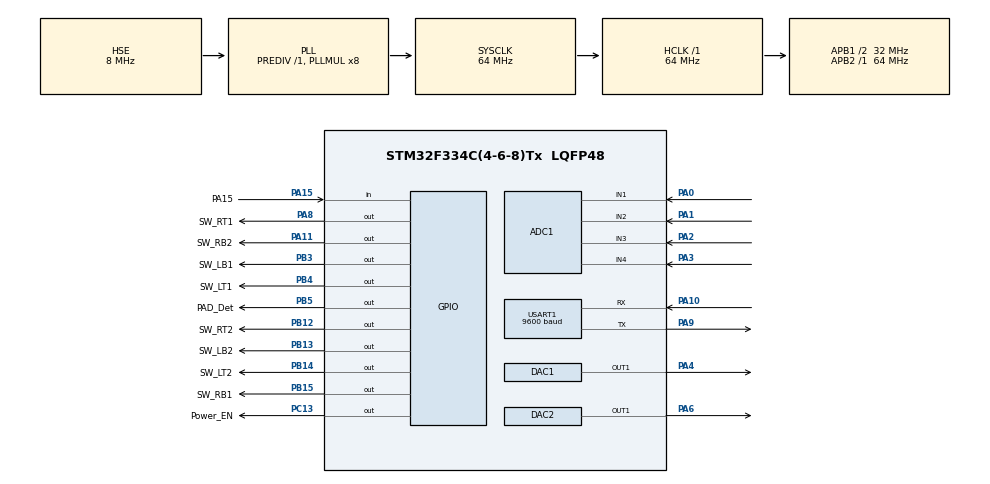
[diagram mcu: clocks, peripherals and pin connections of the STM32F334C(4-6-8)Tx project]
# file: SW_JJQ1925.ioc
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ADC1.Channel-0\#ChannelRegularConversion=ADC_CHANNEL_1
ADC1.Channel-1\#ChannelRegularConversion=ADC_CHANNEL_2
ADC1.Channel-2\#ChannelRegularConversion=ADC_CHANNEL_3
ADC1.Channel-3\#ChannelRegularConversion=ADC_CHANNEL_4
ADC1.Channel-4\#ChannelRegularConversion=ADC_CHANNEL_VREFINT
ADC1.ClockPrescaler=ADC_CLOCK_SYNC_PCLK_DIV1
ADC1.DMAContinuousRequests=ENABLE
ADC1.EnableInjectedConversion=DISABLE
ADC1.ExternalTrigConv=ADC_EXTERNALTRIGCONV_T3_TRGO
ADC1.NbrOfConversion=5
ADC1.NbrOfConversionFlag=1
ADC1.Offset-0\#ChannelRegularConversion=0
ADC1.Offset-1\#ChannelRegularConversion=0
ADC1.Offset-2\#ChannelRegularConversion=0
ADC1.Offset-3\#ChannelRegularConversion=0
ADC1.Offset-4\#ChannelRegularConversion=0
ADC1.OffsetNumber-0\#ChannelRegularConversion=ADC_OFFSET_NONE
ADC1.OffsetNumber-1\#ChannelRegularConversion=ADC_OFFSET_NONE
ADC1.OffsetNumber-2\#ChannelRegularConversion=ADC_OFFSET_NONE
ADC1.OffsetNumber-3\#ChannelRegularConversion=ADC_OFFSET_NONE
ADC1.OffsetNumber-4\#ChannelRegularConversion=ADC_OFFSET_NONE
ADC1.Rank-0\#ChannelRegularConversion=1
ADC1.Rank-1\#ChannelRegularConversion=2
ADC1.Rank-2\#ChannelRegularConversion=3
ADC1.Rank-3\#ChannelRegularConversion=4
ADC1.Rank-4\#ChannelRegularConversion=5
ADC1.SamplingTime-0\#ChannelRegularConversion=ADC_SAMPLETIME_19CYCLES_5
ADC1.SamplingTime-1\#ChannelRegularConversion=ADC_SAMPLETIME_19CYCLES_5
ADC1.SamplingTime-2\#ChannelRegularConversion=ADC_SAMPLETIME_19CYCLES_5
ADC1.SamplingTime-3\#ChannelRegularConversion=ADC_SAMPLETIME_19CYCLES_5
ADC1.SamplingTime-4\#ChannelRegularConversion=ADC_SAMPLETIME_19CYCLES_5
ADC1.master=1
DAC1.DAC_OutputBuffer=DAC_OUTPUTBUFFER_DISABLE
Dma.ADC1.0.Direction=DMA_PERIPH_TO_MEMORY
Dma.ADC1.0.Instance=DMA1_Channel1
Dma.ADC1.0.MemDataAlignment=DMA_MDATAALIGN_WORD
Dma.ADC1.0.MemInc=DMA_MINC_ENABLE
Dma.ADC1.0.Mode=DMA_CIRCULAR
Dma.ADC1.0.PeriphDataAlignment=DMA_PDATAALIGN_WORD
Dma.ADC1.0.PeriphInc=DMA_PINC_DISABLE
Dma.ADC1.0.Priority=DMA_PRIORITY_HIGH
Dma.Request0=ADC1
Dma.Request1=USART1_RX
Dma.Request2=USART1_TX
Dma.USART1_RX.1.Direction=DMA_PERIPH_TO_MEMORY
Dma.USART1_RX.1.Instance=DMA1_Channel5
Dma.USART1_RX.1.MemDataAlignment=DMA_MDATAALIGN_BYTE
Dma.USART1_RX.1.MemInc=DMA_MINC_ENABLE
Dma.USART1_RX.1.Mode=DMA_CIRCULAR
Dma.USART1_RX.1.PeriphDataAlignment=DMA_PDATAALIGN_BYTE
Dma.USART1_RX.1.PeriphInc=DMA_PINC_DISABLE
Dma.USART1_RX.1.Priority=DMA_PRIORITY_LOW
Dma.USART1_TX.2.Direction=DMA_MEMORY_TO_PERIPH
Dma.USART1_TX.2.Instance=DMA1_Channel4
Dma.USART1_TX.2.MemDataAlignment=DMA_MDATAALIGN_BYTE
Dma.USART1_TX.2.MemInc=DMA_MINC_ENABLE
Dma.USART1_TX.2.Mode=DMA_NORMAL
Dma.USART1_TX.2.PeriphDataAlignment=DMA_PDATAALIGN_BYTE
Dma.USART1_TX.2.PeriphInc=DMA_PINC_DISABLE
Dma.USART1_TX.2.Priority=DMA_PRIORITY_LOW
FREERTOS.INCLUDE_uxTaskPriorityGet=0
FREERTOS.INCLUDE_vTaskDelete=0
FREERTOS.INCLUDE_vTaskSuspend=0
FREERTOS.Tasks01=defaultTask,0,128,StartDefaultTask,Default,NULL,Dynamic,NULL,NULL;myTask02,-3,128,StartTask_Uart,Default,NULL,Dynamic,NULL,NULL;myTask03,-3,128,DAC_Task,Default,NULL,Dynamic,NULL,NULL;myTask04,-3,128,StartTask_SelfTest,Default,NULL,Dynamic,NULL,NULL
FREERTOS.Timers01=myTimer03,Check_Modbus,osTimerOnce,Default,NULL,Dynamic,NULL
FREERTOS.configTOTAL_HEAP_SIZE=4700
FREERTOS.configUSE_MUTEXES=0
FREERTOS.configUSE_TIMERS=1
Mcu.Family=STM32F3
Mcu.Name=STM32F334C(4-6-8)Tx
Mcu.Package=LQFP48
NVIC.DMA1_Channel1_IRQn=true\:5\:0\:false\:false\:true\:true\:false\:true
NVIC.DMA1_Channel4_IRQn=true\:5\:0\:false\:false\:true\:true\:false\:true
NVIC.DMA1_Channel5_IRQn=true\:5\:0\:false\:false\:true\:true\:false\:true
NVIC.PriorityGroup=NVIC_PRIORITYGROUP_4
NVIC.TIM1_UP_TIM16_IRQn=true\:0\:0\:false\:false\:true\:false\:false\:true
NVIC.TimeBase=TIM1_UP_TIM16_IRQn
NVIC.TimeBaseIP=TIM1
PA0.GPIO_Mode=GPIO_MODE_ANALOG
PA0.GPIO_PuPd=GPIO_NOPULL
PA0.Mode=IN1-Single-Ended
PA0.Signal=ADC1_IN1
PA1.GPIO_Mode=GPIO_MODE_ANALOG
PA1.GPIO_PuPd=GPIO_NOPULL
PA1.Mode=IN2-Single-Ended
PA1.Signal=ADC1_IN2
PA10.GPIO_ModeDefaultPP=GPIO_MODE_AF_PP
PA10.GPIO_PuPd=GPIO_NOPULL
PA10.GPIO_Speed=GPIO_SPEED_FREQ_LOW
PA10.Mode=Asynchronous
PA10.Signal=USART1_RX
PA11.GPIO_Label=SW_RB2
PA11.GPIO_ModeDefaultOutputPP=GPIO_MODE_OUTPUT_PP
PA11.GPIO_PuPd=GPIO_NOPULL
PA11.GPIO_Speed=GPIO_SPEED_FREQ_LOW
PA11.PinState=GPIO_PIN_RESET
PA11.Signal=GPIO_Output
PA13.Mode=Serial_Wire
PA13.Signal=SYS_JTMS-SWDIO
PA14.Mode=Serial_Wire
PA14.Signal=SYS_JTCK-SWCLK
PA15.GPIO_Label=PA15
PA15.GPIO_Mode=GPIO_MODE_INPUT
PA15.GPIO_PuPd=GPIO_PULLUP
PA15.Signal=GPIO_Input
PA2.GPIO_Mode=GPIO_MODE_ANALOG
PA2.GPIO_PuPd=GPIO_NOPULL
PA2.Mode=IN3-Single-Ended
PA2.Signal=ADC1_IN3
PA3.GPIO_Mode=GPIO_MODE_ANALOG
PA3.GPIO_PuPd=GPIO_NOPULL
PA3.Mode=IN4-Single-Ended
PA3.Signal=ADC1_IN4
PA4.GPIO_Mode=GPIO_MODE_ANALOG
PA4.GPIO_PuPd=GPIO_NOPULL
PA4.Signal=COMP_DAC11_group
PA6.GPIO_Mode=GPIO_MODE_ANALOG
PA6.GPIO_PuPd=GPIO_NOPULL
PA6.Signal=COMP_DAC21_group
PA8.GPIO_Label=SW_RT1
PA8.Signal=GPIO_Output
PA9.GPIO_Speed=GPIO_SPEED_FREQ_LOW
PA9.Mode=Asynchronous
PA9.Signal=USART1_TX
PB12.GPIO_Label=SW_RT2
PB12.GPIO_ModeDefaultOutputPP=GPIO_MODE_OUTPUT_PP
PB12.GPIO_PuPd=GPIO_NOPULL
PB12.GPIO_Speed=GPIO_SPEED_FREQ_LOW
PB12.PinState=GPIO_PIN_RESET
PB12.Signal=GPIO_Output
PB13.GPIO_Label=SW_LB2
PB13.GPIO_ModeDefaultOutputPP=GPIO_MODE_OUTPUT_PP
PB13.GPIO_PuPd=GPIO_NOPULL
PB13.GPIO_Speed=GPIO_SPEED_FREQ_LOW
PB13.PinState=GPIO_PIN_RESET
PB13.Signal=GPIO_Output
PB14.GPIO_Label=SW_LT2
PB14.GPIO_ModeDefaultOutputPP=GPIO_MODE_OUTPUT_PP
PB14.GPIO_PuPd=GPIO_NOPULL
PB14.GPIO_Speed=GPIO_SPEED_FREQ_LOW
PB14.PinState=GPIO_PIN_RESET
PB14.Signal=GPIO_Output
PB15.GPIO_Label=SW_RB1
PB15.GPIO_ModeDefaultOutputPP=GPIO_MODE_OUTPUT_PP
PB15.GPIO_PuPd=GPIO_NOPULL
PB15.GPIO_Speed=GPIO_SPEED_FREQ_LOW
PB15.PinState=GPIO_PIN_RESET
PB15.Signal=GPIO_Output
PB3.GPIO_Label=SW_LB1
PB3.GPIO_ModeDefaultOutputPP=GPIO_MODE_OUTPUT_PP
PB3.GPIO_PuPd=GPIO_NOPULL
PB3.GPIO_Speed=GPIO_SPEED_FREQ_LOW
PB3.PinState=GPIO_PIN_RESET
PB3.Signal=GPIO_Output
PB4.GPIO_Label=SW_LT1
PB4.GPIO_ModeDefaultOutputPP=GPIO_MODE_OUTPUT_PP
PB4.GPIO_PuPd=GPIO_NOPULL
PB4.GPIO_Speed=GPIO_SPEED_FREQ_LOW
PB4.PinState=GPIO_PIN_RESET
PB4.Signal=GPIO_Output
PB5.GPIO_Label=PAD_Det
PB5.GPIO_ModeDefaultOutputPP=GPIO_MODE_OUTPUT_PP
PB5.GPIO_PuPd=GPIO_NOPULL
PB5.GPIO_Speed=GPIO_SPEED_FREQ_LOW
PB5.PinState=GPIO_PIN_RESET
PB5.Signal=GPIO_Output
PC13.GPIO_Label=Power_EN
PC13.Signal=GPIO_Output
PF0\ /\ OSC_IN.Mode=HSE-External-Oscillator
PF0\ /\ OSC_IN.Signal=RCC_OSC_IN
PF1\ /\ OSC_OUT.Mode=HSE-External-Oscillator
PF1\ /\ OSC_OUT.Signal=RCC_OSC_OUT
ProjectManager.HeapSize=0x400
ProjectManager.StackSize=0x800
ProjectManager.TargetToolchain=MDK-ARM V5
RCC.AHBFreq_Value=64000000
RCC.APB1CLKDivider=RCC_HCLK_DIV2
RCC.APB1Freq_Value=32000000
RCC.APB1TimFreq_Value=64000000
RCC.APB2Freq_Value=64000000
RCC.APB2TimFreq_Value=64000000
RCC.CortexFreq_Value=64000000
RCC.HCLKFreq_Value=64000000
RCC.HSE_VALUE=8000000
RCC.HSI_VALUE=8000000
RCC.LSE_VALUE=32768
RCC.PLLMUL=RCC_PLL_MUL8
RCC.PLLSourceVirtual=RCC_PLLSOURCE_HSE
RCC.SYSCLKFreq_VALUE=64000000
RCC.SYSCLKSourceVirtual=RCC_SYSCLKSOURCE_PLLCLK
SH.COMP_DAC11_group.0=DAC1_OUT1,DAC_OUT1
SH.COMP_DAC21_group.0=DAC2_OUT1,Switch_Enable_OUT1
TIM2.AutoReloadPreload=TIM_AUTORELOAD_PRELOAD_ENABLE
TIM2.Period=800
TIM2.Prescaler=31
TIM3.AutoReloadPreload=TIM_AUTORELOAD_PRELOAD_ENABLE
TIM3.Period=800
TIM3.Prescaler=31
TIM3.TIM_MasterOutputTrigger=TIM_TRGO_UPDATE
TIM6.AutoReloadPreload=TIM_AUTORELOAD_PRELOAD_ENABLE
TIM6.Period=800
TIM6.Prescaler=31
USART1.BaudRate=9600
USART1.VirtualMode-Asynchronous=VM_ASYNC
USART1.VirtualMode-SmartCard=VM_SMARTCARD
VP_ADC1_Vref_Input.Mode=IN-Vrefint
VP_CRC_VS_CRC.Mode=CRC_Activate
VP_FREERTOS_VS_CMSIS_V1.Mode=CMSIS_V1
VP_SYS_VS_tim1.Mode=TIM1
VP_TIM2_VS_ClockSourceINT.Mode=Internal
VP_TIM3_VS_ClockSourceINT.Mode=Internal
VP_TIM6_VS_ClockSourceINT.Mode=Enable_Timer
board=custom

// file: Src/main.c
/* USER CODE BEGIN Header */
/**
  ******************************************************************************
  * @file           : main.c
  * @brief          : Main program body
  ******************************************************************************
  * @attention
  *
  * <h2><center>&copy; Copyright (c) 2019 STMicroelectronics.
  * All rights reserved.</center></h2>
  *
  * This software component is licensed by ST under Ultimate Liberty license
  * SLA0044, the "License"; You may not use this file except in compliance with
  * the License. You may obtain a copy of the License at:
  *                             www.st.com/SLA0044
  *
  ******************************************************************************
  */
/* USER CODE END Header */

#include "main.h"
#include "cmsis_os.h"

ADC_HandleTypeDef hadc1;
DMA_HandleTypeDef hdma_adc1;

CRC_HandleTypeDef hcrc;

DAC_HandleTypeDef hdac1;
DAC_HandleTypeDef hdac2;

TIM_HandleTypeDef htim2;
TIM_HandleTypeDef htim3;
TIM_HandleTypeDef htim6;

UART_HandleTypeDef huart1;
DMA_HandleTypeDef hdma_usart1_rx;
DMA_HandleTypeDef hdma_usart1_tx;

osThreadId defaultTaskHandle;
osThreadId myTask02Handle;
osThreadId myTask03Handle;
osThreadId myTask04Handle;
osTimerId myTimer03Handle;
/* USER CODE BEGIN PV */
void  Set_DAC(uint8_t Chip);
/* USER CODE END PV */

void SystemClock_Config(void);
static void MX_GPIO_Init(void);
static void MX_DMA_Init(void);
static void MX_ADC1_Init(void);
static void MX_CRC_Init(void);
static void MX_DAC1_Init(void);
static void MX_DAC2_Init(void);
static void MX_TIM3_Init(void);
static void MX_USART1_UART_Init(void);
static void MX_TIM6_Init(void);
static void MX_TIM2_Init(void);
void StartDefaultTask(void const * argument);
void StartTask_Uart(void const * argument);
void DAC_Task(void const * argument);
void StartTask_SelfTest(void const * argument);
void Check_Modbus(void const * argument);

/* USER CODE BEGIN PFP */
	uint32_t Test_D1=0;
	uint32_t Test_D2=4095;
/* USER CODE END PFP */
 uint8_t  Rxbuff[128];
 uint32_t adcbuf[120];
/* USER CODE BEGIN 0 */
uint16_t Receive_Changed(void);
void MODBUS_Ansy(void);
void  wavechan1(void);
void Tichabuxie_bufa(uint8_t num,uint8_t T,uint16_t Power,uint8_t Chip_choice);
/* USER CODE END 0 */

int main(void)
{

  /* MCU Configuration--------------------------------------------------------*/

  /* Reset of all peripherals, Initializes the Flash interface and the Systick. */
  HAL_Init();

  /* Configure the system clock */
  SystemClock_Config();

  /* Initialize all configured peripherals */
  MX_GPIO_Init();
  MX_DMA_Init();
  MX_ADC1_Init();
  MX_CRC_Init();
  MX_DAC1_Init();
  MX_DAC2_Init();
  MX_TIM3_Init();
  MX_USART1_UART_Init();
  MX_TIM6_Init();
  MX_TIM2_Init();

  /* Create the timer(s) */
  /* definition and creation of myTimer03 */
  osTimerDef(myTimer03, Check_Modbus);
  myTimer03Handle = osTimerCreate(osTimer(myTimer03), osTimerOnce, NULL);

  /* Create the thread(s) */
  /* definition and creation of defaultTask */
  osThreadDef(defaultTask, StartDefaultTask, osPriorityNormal, 0, 128);
  defaultTaskHandle = osThreadCreate(osThread(defaultTask), NULL);

  /* definition and creation of myTask02 */
  osThreadDef(myTask02, StartTask_Uart, osPriorityIdle, 0, 128);
  myTask02Handle = osThreadCreate(osThread(myTask02), NULL);

  /* definition and creation of myTask03 */
  osThreadDef(myTask03, DAC_Task, osPriorityIdle, 0, 128);
  myTask03Handle = osThreadCreate(osThread(myTask03), NULL);

  /* definition and creation of myTask04 */
  osThreadDef(myTask04, StartTask_SelfTest, osPriorityIdle, 0, 128);
  myTask04Handle = osThreadCreate(osThread(myTask04), NULL);

  /* Start scheduler */
  osKernelStart();

  /* We should never get here as control is now taken by the scheduler */

  /* Infinite loop */
  while (1)
  {

  }
}

void SystemClock_Config(void)
{
  RCC_OscInitTypeDef RCC_OscInitStruct = {0};
  RCC_ClkInitTypeDef RCC_ClkInitStruct = {0};
  RCC_PeriphCLKInitTypeDef PeriphClkInit = {0};

  /** Initializes the CPU, AHB and APB busses clocks
  */
  RCC_OscInitStruct.OscillatorType = RCC_OSCILLATORTYPE_HSE;
  RCC_OscInitStruct.HSEState = RCC_HSE_ON;
  RCC_OscInitStruct.HSEPredivValue = RCC_HSE_PREDIV_DIV1;
  RCC_OscInitStruct.HSIState = RCC_HSI_ON;
  RCC_OscInitStruct.PLL.PLLState = RCC_PLL_ON;
  RCC_OscInitStruct.PLL.PLLSource = RCC_PLLSOURCE_HSE;
  RCC_OscInitStruct.PLL.PLLMUL = RCC_PLL_MUL8;
  if (HAL_RCC_OscConfig(&RCC_OscInitStruct) != HAL_OK)
  {
    Error_Handler();
  }
  /** Initializes the CPU, AHB and APB busses clocks
  */
  RCC_ClkInitStruct.ClockType = RCC_CLOCKTYPE_HCLK|RCC_CLOCKTYPE_SYSCLK
                              |RCC_CLOCKTYPE_PCLK1|RCC_CLOCKTYPE_PCLK2;
  RCC_ClkInitStruct.SYSCLKSource = RCC_SYSCLKSOURCE_PLLCLK;
  RCC_ClkInitStruct.AHBCLKDivider = RCC_SYSCLK_DIV1;
  RCC_ClkInitStruct.APB1CLKDivider = RCC_HCLK_DIV2;
  RCC_ClkInitStruct.APB2CLKDivider = RCC_HCLK_DIV1;

  if (HAL_RCC_ClockConfig(&RCC_ClkInitStruct, FLASH_LATENCY_2) != HAL_OK)
  {
    Error_Handler();
  }
  PeriphClkInit.PeriphClockSelection = RCC_PERIPHCLK_USART1;
  PeriphClkInit.Usart1ClockSelection = RCC_USART1CLKSOURCE_PCLK1;
  if (HAL_RCCEx_PeriphCLKConfig(&PeriphClkInit) != HAL_OK)
  {
    Error_Handler();
  }
}

static void MX_ADC1_Init(void)
{

  ADC_MultiModeTypeDef multimode = {0};
  ADC_ChannelConfTypeDef sConfig = {0};

  /** Common config
  */
  hadc1.Instance = ADC1;
  hadc1.Init.ClockPrescaler = ADC_CLOCK_SYNC_PCLK_DIV1;
  hadc1.Init.Resolution = ADC_RESOLUTION_12B;
  hadc1.Init.ScanConvMode = ADC_SCAN_ENABLE;
  hadc1.Init.ContinuousConvMode = DISABLE;
  hadc1.Init.DiscontinuousConvMode = DISABLE;
  hadc1.Init.ExternalTrigConvEdge = ADC_EXTERNALTRIGCONVEDGE_RISING;
  hadc1.Init.ExternalTrigConv = ADC_EXTERNALTRIGCONV_T3_TRGO;
  hadc1.Init.DataAlign = ADC_DATAALIGN_RIGHT;
  hadc1.Init.NbrOfConversion = 5;
  hadc1.Init.DMAContinuousRequests = ENABLE;
  hadc1.Init.EOCSelection = ADC_EOC_SINGLE_CONV;
  hadc1.Init.LowPowerAutoWait = DISABLE;
  hadc1.Init.Overrun = ADC_OVR_DATA_OVERWRITTEN;
  if (HAL_ADC_Init(&hadc1) != HAL_OK)
  {
    Error_Handler();
  }
  /** Configure the ADC multi-mode
  */
  multimode.Mode = ADC_MODE_INDEPENDENT;
  if (HAL_ADCEx_MultiModeConfigChannel(&hadc1, &multimode) != HAL_OK)
  {
    Error_Handler();
  }
  /** Configure Regular Channel
  */
  sConfig.Channel = ADC_CHANNEL_1;
  sConfig.Rank = ADC_REGULAR_RANK_1;
  sConfig.SingleDiff = ADC_SINGLE_ENDED;
  sConfig.SamplingTime = ADC_SAMPLETIME_19CYCLES_5;
  sConfig.OffsetNumber = ADC_OFFSET_NONE;
  sConfig.Offset = 0;
  if (HAL_ADC_ConfigChannel(&hadc1, &sConfig) != HAL_OK)
  {
    Error_Handler();
  }
  /** Configure Regular Channel
  */
  sConfig.Channel = ADC_CHANNEL_2;
  sConfig.Rank = ADC_REGULAR_RANK_2;
  if (HAL_ADC_ConfigChannel(&hadc1, &sConfig) != HAL_OK)
  {
    Error_Handler();
  }
  /** Configure Regular Channel
  */
  sConfig.Channel = ADC_CHANNEL_3;
  sConfig.Rank = ADC_REGULAR_RANK_3;
  if (HAL_ADC_ConfigChannel(&hadc1, &sConfig) != HAL_OK)
  {
    Error_Handler();
  }
  /** Configure Regular Channel
  */
  sConfig.Channel = ADC_CHANNEL_4;
  sConfig.Rank = ADC_REGULAR_RANK_4;
  if (HAL_ADC_ConfigChannel(&hadc1, &sConfig) != HAL_OK)
  {
    Error_Handler();
  }
  /** Configure Regular Channel
  */
  sConfig.Channel = ADC_CHANNEL_VREFINT;
  sConfig.Rank = ADC_REGULAR_RANK_5;
  if (HAL_ADC_ConfigChannel(&hadc1, &sConfig) != HAL_OK)
  {
    Error_Handler();
  }

}

static void MX_CRC_Init(void)
{

  hcrc.Instance = CRC;
  hcrc.Init.DefaultPolynomialUse = DEFAULT_POLYNOMIAL_ENABLE;
  hcrc.Init.DefaultInitValueUse = DEFAULT_INIT_VALUE_ENABLE;
  hcrc.Init.InputDataInversionMode = CRC_INPUTDATA_INVERSION_NONE;
  hcrc.Init.OutputDataInversionMode = CRC_OUTPUTDATA_INVERSION_DISABLE;
  hcrc.InputDataFormat = CRC_INPUTDATA_FORMAT_BYTES;
  if (HAL_CRC_Init(&hcrc) != HAL_OK)
  {
    Error_Handler();
  }

}

static void MX_DAC1_Init(void)
{

  DAC_ChannelConfTypeDef sConfig = {0};

  /** DAC Initialization
  */
  hdac1.Instance = DAC1;
  if (HAL_DAC_Init(&hdac1) != HAL_OK)
  {
    Error_Handler();
  }
  /** DAC channel OUT1 config
  */
  sConfig.DAC_Trigger = DAC_TRIGGER_NONE;
  sConfig.DAC_OutputBuffer = DAC_OUTPUTBUFFER_DISABLE;
  if (HAL_DAC_ConfigChannel(&hdac1, &sConfig, DAC_CHANNEL_1) != HAL_OK)
  {
    Error_Handler();
  }

}

static void MX_DAC2_Init(void)
{

  DAC_ChannelConfTypeDef sConfig = {0};

  /** DAC Initialization
  */
  hdac2.Instance = DAC2;
  if (HAL_DAC_Init(&hdac2) != HAL_OK)
  {
    Error_Handler();
  }
  /** DAC channel OUT1 config
  */
  sConfig.DAC_Trigger = DAC_TRIGGER_NONE;
  sConfig.DAC_OutputSwitch = DAC_OUTPUTSWITCH_ENABLE;
  if (HAL_DAC_ConfigChannel(&hdac2, &sConfig, DAC_CHANNEL_1) != HAL_OK)
  {
    Error_Handler();
  }

}

static void MX_TIM2_Init(void)
{

  TIM_ClockConfigTypeDef sClockSourceConfig = {0};
  TIM_MasterConfigTypeDef sMasterConfig = {0};

  htim2.Instance = TIM2;
  htim2.Init.Prescaler = 31;
  htim2.Init.CounterMode = TIM_COUNTERMODE_UP;
  htim2.Init.Period = 800;
  htim2.Init.ClockDivision = TIM_CLOCKDIVISION_DIV1;
  htim2.Init.AutoReloadPreload = TIM_AUTORELOAD_PRELOAD_ENABLE;
  if (HAL_TIM_Base_Init(&htim2) != HAL_OK)
  {
    Error_Handler();
  }
  sClockSourceConfig.ClockSource = TIM_CLOCKSOURCE_INTERNAL;
  if (HAL_TIM_ConfigClockSource(&htim2, &sClockSourceConfig) != HAL_OK)
  {
    Error_Handler();
  }
  sMasterConfig.MasterOutputTrigger = TIM_TRGO_RESET;
  sMasterConfig.MasterSlaveMode = TIM_MASTERSLAVEMODE_DISABLE;
  if (HAL_TIMEx_MasterConfigSynchronization(&htim2, &sMasterConfig) != HAL_OK)
  {
    Error_Handler();
  }

}

static void MX_TIM3_Init(void)
{

  TIM_ClockConfigTypeDef sClockSourceConfig = {0};
  TIM_MasterConfigTypeDef sMasterConfig = {0};

  htim3.Instance = TIM3;
  htim3.Init.Prescaler = 31;
  htim3.Init.CounterMode = TIM_COUNTERMODE_UP;
  htim3.Init.Period = 800;
  htim3.Init.ClockDivision = TIM_CLOCKDIVISION_DIV1;
  htim3.Init.AutoReloadPreload = TIM_AUTORELOAD_PRELOAD_ENABLE;
  if (HAL_TIM_Base_Init(&htim3) != HAL_OK)
  {
    Error_Handler();
  }
  sClockSourceConfig.ClockSource = TIM_CLOCKSOURCE_INTERNAL;
  if (HAL_TIM_ConfigClockSource(&htim3, &sClockSourceConfig) != HAL_OK)
  {
    Error_Handler();
  }
  sMasterConfig.MasterOutputTrigger = TIM_TRGO_UPDATE;
  sMasterConfig.MasterSlaveMode = TIM_MASTERSLAVEMODE_DISABLE;
  if (HAL_TIMEx_MasterConfigSynchronization(&htim3, &sMasterConfig) != HAL_OK)
  {
    Error_Handler();
  }

}

static void MX_TIM6_Init(void)
{

  TIM_MasterConfigTypeDef sMasterConfig = {0};

  htim6.Instance = TIM6;
  htim6.Init.Prescaler = 31;
  htim6.Init.CounterMode = TIM_COUNTERMODE_UP;
  htim6.Init.Period = 800;
  htim6.Init.AutoReloadPreload = TIM_AUTORELOAD_PRELOAD_ENABLE;
  if (HAL_TIM_Base_Init(&htim6) != HAL_OK)
  {
    Error_Handler();
  }
  sMasterConfig.MasterOutputTrigger = TIM_TRGO_RESET;
  sMasterConfig.MasterSlaveMode = TIM_MASTERSLAVEMODE_DISABLE;
  if (HAL_TIMEx_MasterConfigSynchronization(&htim6, &sMasterConfig) != HAL_OK)
  {
    Error_Handler();
  }

}

static void MX_USART1_UART_Init(void)
{

  huart1.Instance = USART1;
  huart1.Init.BaudRate = 9600;
  huart1.Init.WordLength = UART_WORDLENGTH_8B;
  huart1.Init.StopBits = UART_STOPBITS_1;
  huart1.Init.Parity = UART_PARITY_NONE;
  huart1.Init.Mode = UART_MODE_TX_RX;
  huart1.Init.HwFlowCtl = UART_HWCONTROL_NONE;
  huart1.Init.OverSampling = UART_OVERSAMPLING_16;
  huart1.Init.OneBitSampling = UART_ONE_BIT_SAMPLE_DISABLE;
  huart1.AdvancedInit.AdvFeatureInit = UART_ADVFEATURE_NO_INIT;
  if (HAL_UART_Init(&huart1) != HAL_OK)
  {
    Error_Handler();
  }

}

static void MX_DMA_Init(void)
{

  /* DMA controller clock enable */
  __HAL_RCC_DMA1_CLK_ENABLE();

  /* DMA interrupt init */
  /* DMA1_Channel1_IRQn interrupt configuration */
  HAL_NVIC_SetPriority(DMA1_Channel1_IRQn, 5, 0);
  HAL_NVIC_EnableIRQ(DMA1_Channel1_IRQn);
  /* DMA1_Channel4_IRQn interrupt configuration */
  HAL_NVIC_SetPriority(DMA1_Channel4_IRQn, 5, 0);
  HAL_NVIC_EnableIRQ(DMA1_Channel4_IRQn);
  /* DMA1_Channel5_IRQn interrupt configuration */
  HAL_NVIC_SetPriority(DMA1_Channel5_IRQn, 5, 0);
  HAL_NVIC_EnableIRQ(DMA1_Channel5_IRQn);

}

static void MX_GPIO_Init(void)
{
  GPIO_InitTypeDef GPIO_InitStruct = {0};

  /* GPIO Ports Clock Enable */
  __HAL_RCC_GPIOC_CLK_ENABLE();
  __HAL_RCC_GPIOF_CLK_ENABLE();
  __HAL_RCC_GPIOA_CLK_ENABLE();
  __HAL_RCC_GPIOB_CLK_ENABLE();

  /*Configure GPIO pin Output Level */
  HAL_GPIO_WritePin(Power_EN_GPIO_Port, Power_EN_Pin, GPIO_PIN_RESET);

  /*Configure GPIO pin Output Level */
  HAL_GPIO_WritePin(GPIOB, SW_RT2_Pin|SW_LB2_Pin|SW_LT2_Pin|SW_RB1_Pin
                          |SW_LB1_Pin|SW_LT1_Pin|PAD_Det_Pin, GPIO_PIN_RESET);

  /*Configure GPIO pin Output Level */
  HAL_GPIO_WritePin(GPIOA, SW_RT1_Pin|SW_RB2_Pin, GPIO_PIN_RESET);

  /*Configure GPIO pin : Power_EN_Pin */
  GPIO_InitStruct.Pin = Power_EN_Pin;
  GPIO_InitStruct.Mode = GPIO_MODE_OUTPUT_PP;
  GPIO_InitStruct.Pull = GPIO_NOPULL;
  GPIO_InitStruct.Speed = GPIO_SPEED_FREQ_LOW;
  HAL_GPIO_Init(Power_EN_GPIO_Port, &GPIO_InitStruct);

  /*Configure GPIO pins : SW_RT2_Pin SW_LB2_Pin SW_LT2_Pin SW_RB1_Pin
                           SW_LB1_Pin SW_LT1_Pin PAD_Det_Pin */
  GPIO_InitStruct.Pin = SW_RT2_Pin|SW_LB2_Pin|SW_LT2_Pin|SW_RB1_Pin
                          |SW_LB1_Pin|SW_LT1_Pin|PAD_Det_Pin;
  GPIO_InitStruct.Mode = GPIO_MODE_OUTPUT_PP;
  GPIO_InitStruct.Pull = GPIO_NOPULL;
  GPIO_InitStruct.Speed = GPIO_SPEED_FREQ_LOW;
  HAL_GPIO_Init(GPIOB, &GPIO_InitStruct);

  /*Configure GPIO pins : SW_RT1_Pin SW_RB2_Pin */
  GPIO_InitStruct.Pin = SW_RT1_Pin|SW_RB2_Pin;
  GPIO_InitStruct.Mode = GPIO_MODE_OUTPUT_PP;
  GPIO_InitStruct.Pull = GPIO_NOPULL;
  GPIO_InitStruct.Speed = GPIO_SPEED_FREQ_LOW;
  HAL_GPIO_Init(GPIOA, &GPIO_InitStruct);

  /*Configure GPIO pin : PA15_Pin */
  GPIO_InitStruct.Pin = PA15_Pin;
  GPIO_InitStruct.Mode = GPIO_MODE_INPUT;
  GPIO_InitStruct.Pull = GPIO_PULLUP;
  HAL_GPIO_Init(PA15_GPIO_Port, &GPIO_InitStruct);

}

void StartDefaultTask(void const * argument)
{

  /* USER CODE BEGIN 5 */
  HAL_GPIO_WritePin(Power_EN_GPIO_Port,Power_EN_Pin,GPIO_PIN_SET);

//	HAL_DAC_Start(&hdac1, DAC_CHANNEL_1);
//	HAL_DAC_Start(&hdac2, DAC_CHANNEL_1);

	  HAL_ADC_Start_DMA(&hadc1,(uint32_t *) adcbuf,120);
	  HAL_TIM_Base_Start(&htim3);
  /* Infinite loop */
  for(;;)
  {
//		HAL_DAC_SetValue(&hdac1, DAC_CHANNEL_2,DAC_ALIGN_12B_R,Test_D1);
//		HAL_DAC_SetValue(&hdac2, DAC_CHANNEL_2,DAC_ALIGN_12B_R,Test_D2);
//	  HAL_DAC_Start(&hdac1, DAC_CHANNEL_2);
//	  HAL_DAC_Start(&hdac2, DAC_CHANNEL_2);
//		if(Test_D1<4090) Test_D1+=8;else Test_D1=0;
//		if(Test_D2>4)  Test_D2-=8;else Test_D2=4095;

		osDelay(1);
//		    wavechan1();
//////waveinit();
//	wavechan1();
//	wavechan2();
//    osDelay(10);
		HAL_GPIO_WritePin(GPIOA,SW_RT1_Pin|SW_RB2_Pin,GPIO_PIN_RESET);
		HAL_GPIO_WritePin(GPIOB,SW_LT1_Pin|SW_LB1_Pin|SW_RB1_Pin|SW_LT2_Pin|SW_LB2_Pin|SW_RT2_Pin,GPIO_PIN_RESET);

		HAL_GPIO_WritePin(GPIOA,SW_RT1_Pin,GPIO_PIN_SET);
		HAL_GPIO_WritePin(GPIOB,SW_LT1_Pin|SW_LT2_Pin|SW_RT2_Pin,GPIO_PIN_SET);
    osDelay(1);
		HAL_GPIO_WritePin(GPIOA,SW_RT1_Pin,GPIO_PIN_RESET);
		HAL_GPIO_WritePin(GPIOB,SW_LT1_Pin|SW_LT2_Pin|SW_RT2_Pin,GPIO_PIN_RESET);
		HAL_GPIO_WritePin(GPIOA,SW_RB2_Pin,GPIO_PIN_SET);
		HAL_GPIO_WritePin(GPIOB,SW_LB1_Pin|SW_RB1_Pin|SW_LB2_Pin,GPIO_PIN_SET);
		osDelay(1);
		HAL_GPIO_WritePin(GPIOA,SW_RB2_Pin,GPIO_PIN_RESET);
		HAL_GPIO_WritePin(GPIOB,SW_LB1_Pin|SW_RB1_Pin|SW_LB2_Pin,GPIO_PIN_RESET);
	  osDelay(10);
	}
  /* USER CODE END 5 */
}

void StartTask_Uart(void const * argument)
{
  /* USER CODE BEGIN StartTask_Uart */
HAL_UART_Receive_DMA(&huart1,Rxbuff,128);
  /* Infinite loop */
	for(;;)
 {
	 	if(Receive_Changed()!=0)
			{
      osTimerStop(myTimer03Handle);
		  osTimerStart(myTimer03Handle,4);
		}
  /* USER CODE END StartTask_Uart */
}
}
void DAC_Task(void const * argument)
{
  /* USER CODE BEGIN DAC_Task */
// Tichabuxie_bufa(8,10,50,1);
  /* Infinite loop */
  for(;;)
  {

		Set_DAC(1);
//		wavechan1();

    osDelay(1);
  }
  /* USER CODE END DAC_Task */
}

void StartTask_SelfTest(void const * argument)
{
  for(;;)
  {
    osDelay(1);
  }
}

/* Check_Modbus function */
void Check_Modbus(void const * argument)
{
  /* USER CODE BEGIN Check_Modbus */
  MODBUS_Ansy();
  /* USER CODE END Check_Modbus */
}

void HAL_TIM_PeriodElapsedCallback(TIM_HandleTypeDef *htim)
{
  if (htim->Instance == TIM1) {
    HAL_IncTick();
  }
}

void Error_Handler(void)
{
}

/************************ (C) COPYRIGHT STMicroelectronics *****END OF FILE****/
